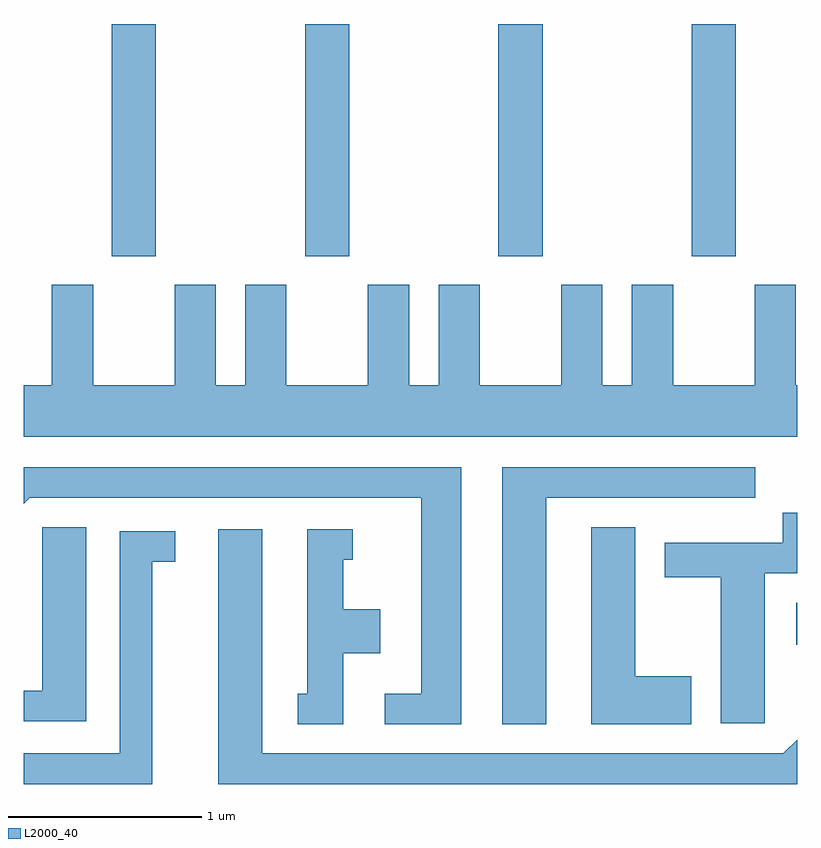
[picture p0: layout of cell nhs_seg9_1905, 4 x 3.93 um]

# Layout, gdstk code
import gdstk
lib = gdstk.Library(unit=1e-6, precision=1e-09)
def R(c, l, rs):  # rectangles x0, y0, x1, y1
    for r in rs: c.add(gdstk.rectangle(r[:2], r[2:], *l))
def A(c, l, x, y, w, h, nx, ny, dx, dy):  # array of equal rectangles
    R(c, l, [(x+i*dx, y+j*dy, x+i*dx+w, y+j*dy+h) for i in range(nx) for j in range(ny)])
def P(c, l, *ps):  # polygons
    for p in ps: c.add(gdstk.Polygon(p, *l))
L2000_40 = (2000, 40)

nhs_seg9_1905 = lib.new_cell('nhs_seg9_1905')
A(nhs_seg9_1905, L2000_40, 242.066, 1957.231, 0.228, 1.201, 4, 1, 1, 0)
R(nhs_seg9_1905, L2000_40, [(245.606,1955.221,245.611,1955.439)])
P(nhs_seg9_1905, L2000_40, [(245.611,1956.564),(245.604,1956.564),(245.604,1957.084),(245.391,1957.084),(245.391,1956.564),(244.969,1956.564),(244.969,1957.084),(244.756,1957.084),(244.756,1956.564),(244.604,1956.564),(244.604,1957.084),(244.391,1957.084),(244.391,1956.564),(243.969,1956.564),(243.969,1957.084),(243.756,1957.084),(243.756,1956.564),(243.604,1956.564),(243.604,1957.084),(243.391,1957.084),(243.391,1956.564),(242.969,1956.564),(242.969,1957.084),(242.756,1957.084),(242.756,1956.564),(242.604,1956.564),(242.604,1957.084),(242.391,1957.084),(242.391,1956.564),(241.969,1956.564),(241.969,1957.084),(241.756,1957.084),(241.756,1956.564),(241.611,1956.564),(241.611,1956.296),(245.611,1956.296)],
  [(243.874,1956.139),(241.611,1956.139),(241.611,1955.95),(241.642,1955.981),(243.666,1955.981),(243.666,1954.969),(243.478,1954.969),(243.478,1954.811),(243.874,1954.811)],
  [(244.314,1955.981),(245.393,1955.981),(245.393,1956.139),(244.086,1956.139),(244.086,1954.811),(244.314,1954.811)],
  [(245.444,1955.591),(245.611,1955.591),(245.611,1955.903),(245.536,1955.903),(245.536,1955.749),(244.926,1955.749),(244.926,1955.571),(245.216,1955.571),(245.216,1954.816),(245.444,1954.816)],
  [(245.064,1955.059),(244.774,1955.059),(244.774,1955.829),(244.546,1955.829),(244.546,1954.811),(245.064,1954.811)],
  [(241.934,1955.829),(241.706,1955.829),(241.706,1954.984),(241.611,1954.984),(241.611,1954.826),(241.934,1954.826)],
  [(245.611,1954.731),(245.539,1954.659),(242.844,1954.659),(242.844,1955.819),(242.616,1955.819),(242.616,1954.501),(245.611,1954.501)],
  [(243.264,1955.176),(243.454,1955.176),(243.454,1955.404),(243.264,1955.404),(243.264,1955.661),(243.313,1955.661),(243.313,1955.819),(243.076,1955.819),(243.076,1954.969),(243.028,1954.969),(243.028,1954.811),(243.264,1954.811)],
  [(242.274,1955.651),(242.393,1955.651),(242.393,1955.809),(242.106,1955.809),(242.106,1954.659),(241.611,1954.659),(241.611,1954.501),(242.274,1954.501)])

lib.write_gds('nhs_seg9_1905.gds')
